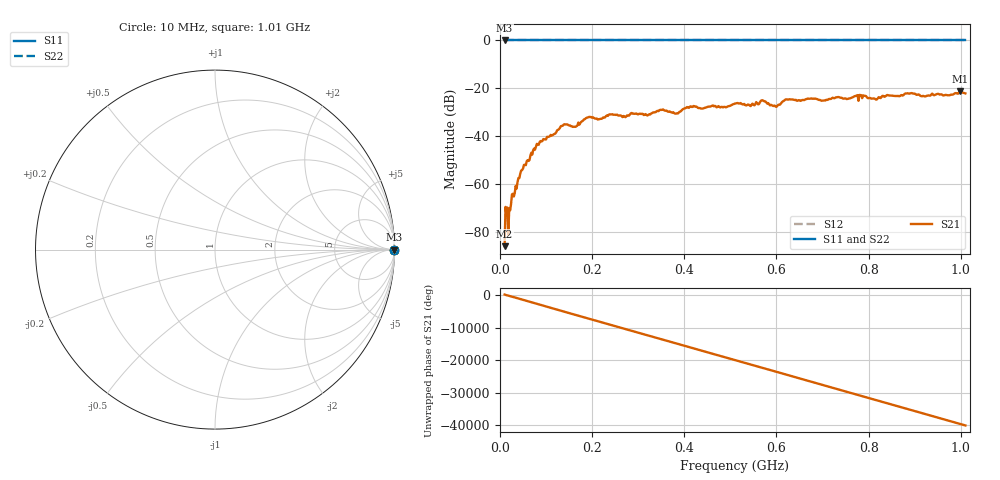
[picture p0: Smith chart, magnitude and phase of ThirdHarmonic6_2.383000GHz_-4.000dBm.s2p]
! 8/17/2025 3:48:33 AM
! C:\ANRITSUVNA\TEMP\TEMP.S2P
! CHANNEL.1
! TR.MEASUREMENT
! RAW.DATA
! RF.CORRECTION.OFF
! AVERAGING.OFF
! IF.BANDWIDTH: 5KHZ
! SWEEPTYPE:  FREQ.SWEEP(Linear)
! Reference Plane Port Info
! PORT:  PORT1  PORT2
! DISTANCE:  0  m  0  m
! TIME:  0  s  0  s
! PHASE.OFFSET:  0  deg.  0  deg.
! LOSS:  0  dB  0  dB
! REF.LOSS:  0  dB  0  dB
! REF.FREQ:  0  Hz  0  Hz
! Power Info
! POWER:  -20  dBm  -20  dBm
! EFF.POWER:  -20  dBm  -20  dBm
! SOURCE.ATTEN:  0  dB  0  dB
! TEST.ATTEN:  0  dB  0  dB
# GHZ S RI R 50.0
! FREQ.GHZ  S11RE  S11IM  S21RE  S21IM  S12RE  S12IM  S22RE  S22IM
!; PortSelection: Port_12
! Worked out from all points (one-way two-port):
!   501 points, 10 MHz to 1.01 GHz, reference 50 ohm
!   highest |S21| = -21.33 dB at 998 MHz (marker M1); lowest = -86.0 dB at 10 MHz (marker M2)
!   lowest |S11| = 0.0 dB at 10 MHz (marker M3)
!   |S11| at or under -10 dB: nowhere
!   |S22| runs from 0.0 to 0.0 dB; largest |S21 - S12| = 1.1
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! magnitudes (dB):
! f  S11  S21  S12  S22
! 10 MHz  0.0  -86.0  0.0  0.0
! 22 MHz  0.0  -71.0  0.0  0.0
! 24 MHz  0.0  -68.4  0.0  0.0
! 44 MHz  0.0  -55.7  0.0  0.0
! 76 MHz  0.0  -45.7  0.0  0.0
! 136 MHz  0.0  -35.7  0.0  0.0
! 162 MHz  0.0  -36.1  0.0  0.0
! 178 MHz  0.0  -33.8  0.0  0.0
! 194 MHz  0.0  -31.9  0.0  0.0
! 322 MHz  0.0  -31.1  0.0  0.0
! 344 MHz  0.0  -29.6  0.0  0.0
! 382 MHz  0.0  -30.6  0.0  0.0
! 416 MHz  0.0  -27.8  0.0  0.0
! 510 MHz  0.0  -26.4  0.0  0.0
! 548 MHz  0.0  -26.4  0.0  0.0
! 570 MHz  0.0  -25.1  0.0  0.0
! 598 MHz  0.0  -27.6  0.0  0.0
! 622 MHz  0.0  -24.6  0.0  0.0
! 678 MHz  0.0  -24.4  0.0  0.0
! 844 MHz  0.0  -23.0  0.0  0.0
! 998 MHz  0.0  -21.3  0.0  0.0
! 1.01 GHz  0.0  -22.1  0.0  0.0
